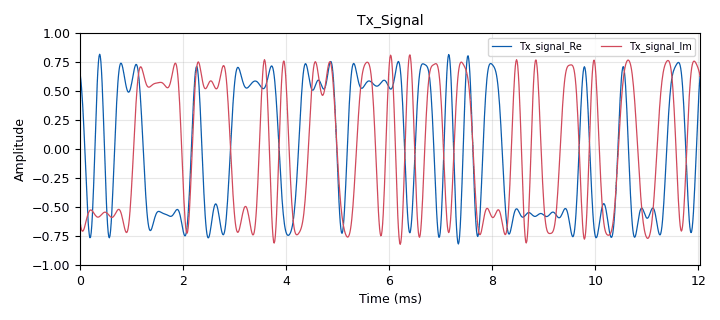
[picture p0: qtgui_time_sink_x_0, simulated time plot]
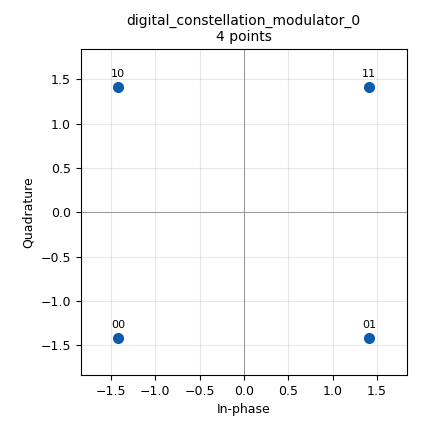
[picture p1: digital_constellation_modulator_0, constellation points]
options:
  parameters:
    author: amrlab
    generate_options: qt_gui
    id: constellation_Plutosdr_to_Plutosdr
    output_language: python
    title: Tx and Rx using Plutosdr
  states: {}

blocks:
- name: alpha
  id: variable
  parameters:
    value: '0.5'
  states: {}
- name: center_freq
  id: variable
  parameters:
    value: 5.15e9
  states: {}
- name: constellation
  id: variable_constellation
  parameters:
    precision: '4'
    type: qpsk
  states: {}
- name: costas_loop_bandwidth_in_cycles_per_sample
  id: variable_qtgui_range
  parameters:
    start: '0.0001'
    step: '0.0001'
    stop: '0.2'
    value: '0.01'
  states: {}
- name: delay
  id: variable_qtgui_range
  parameters:
    label: delay
    start: '0'
    step: '1'
    stop: '200'
    value: '50'
  states: {}
- name: fft_len
  id: variable
  parameters:
    value: '64'
  states: {}
- name: len_tag_key
  id: variable
  parameters:
    value: '"packet_len"'
  states: {}
- name: nfilts
  id: variable
  parameters:
    value: '32'
  states: {}
- name: packet_len
  id: variable
  parameters:
    value: '50'
  states: {}
- name: rcc_taps
  id: variable_rrc_filter_taps
  parameters:
    alpha: alpha
    gain: nfilts
    ntaps: 11*sps*nfilts
    samp_rate: samp_rate*nfilts
    sym_rate: samp_rate/sps
  states: {}
- name: rx_gain
  id: variable_qtgui_range
  parameters:
    start: '0'
    step: '1'
    stop: '200'
    value: '50'
  states: {}
- name: samp_rate
  id: variable
  parameters:
    value: 850e2
  states: {}
- name: samp_rate_0
  id: variable
  parameters:
    value: '100000'
  states: {}
- name: sps
  id: variable
  parameters:
    value: '16'
  states: {}
- name: analog_agc_xx_0
  id: analog_agc_xx
  parameters:
    gain: '1.0'
    max_gain: '65536'
    rate: '1e-4'
    reference: '1.0'
    type: complex
  states: {state: disabled}
- name: analog_const_source_x_0
  id: analog_const_source_x
  parameters:
    const: '1024'
    type: float
  states: {state: disabled}
- name: analog_random_uniform_source_x_0
  id: analog_random_uniform_source_x
  parameters:
    maximum: '4'
    minimum: '0'
    seed: '0'
    type: byte
  states: {}
- name: blocks_complex_to_mag_squared_0
  id: blocks_complex_to_mag_squared
  parameters: {}
  states: {state: disabled}
- name: blocks_divide_xx_0
  id: blocks_divide_xx
  parameters:
    type: float
  states: {state: disabled}
- name: blocks_divide_xx_1
  id: blocks_divide_xx
  parameters:
    type: float
  states: {state: disabled}
- name: blocks_divide_xx_2
  id: blocks_divide_xx
  parameters:
    type: float
  states: {state: disabled}
- name: blocks_multiply_const_vxx_0
  id: blocks_multiply_const_vxx
  parameters:
    const: '0.4'
    type: complex
  states: {}
- name: blocks_multiply_const_vxx_1
  id: blocks_multiply_const_vxx
  parameters:
    const: '0.5'
    type: float
  states: {state: disabled}
- name: blocks_multiply_xx_1
  id: blocks_multiply_xx
  parameters:
    type: float
  states: {state: disabled}
- name: blocks_multiply_xx_2
  id: blocks_multiply_xx
  parameters:
    type: float
  states: {state: disabled}
- name: blocks_nlog10_ff_0
  id: blocks_nlog10_ff
  parameters:
    k: '0'
    n: '10'
  states: {state: disabled}
- name: blocks_nlog10_ff_1
  id: blocks_nlog10_ff
  parameters:
    k: '0'
  states: {state: disabled}
- name: blocks_rms_xx_0
  id: blocks_rms_xx
  parameters:
    alpha: '0.0001'
    type: complex
  states: {state: disabled}
- name: blocks_skiphead_0
  id: blocks_skiphead
  parameters:
    num_items: int(samp_rate)
    type: complex
  states: {state: disabled}
- name: blocks_sub_xx_0
  id: blocks_sub_xx
  parameters:
    type: complex
  states: {state: disabled}
- name: blocks_unpacked_to_packed_xx_0
  id: blocks_unpacked_to_packed_xx
  parameters:
    bits_per_chunk: '2'
    endianness: gr.GR_MSB_FIRST
    type: byte
  states: {}
- name: digital_constellation_modulator_0
  id: digital_constellation_modulator
  parameters:
    constellation: constellation
    differential: 'False'
    excess_bw: alpha
    samples_per_symbol: sps
  states: {}
- name: digital_costas_loop_cc_0
  id: digital_costas_loop_cc
  parameters:
    order: constellation.arity()
    use_snr: 'True'
    w: 2*math.pi*costas_loop_bandwidth_in_cycles_per_sample
  states: {state: disabled}
- name: digital_fll_band_edge_cc_0
  id: digital_fll_band_edge_cc
  parameters:
    filter_size: sps*2+1
    rolloff: alpha
    samps_per_sym: sps
    type: cc
    w: 2*math.pi/sps/100
  states: {state: disabled}
- name: digital_symbol_sync_xx_0
  id: digital_symbol_sync_xx
  parameters:
    damping: '1.0'
    loop_bw: '0.045'
    max_dev: '0.1'
    nfilters: nfilts
    osps: '1'
    pfb_mf_taps: rcc_taps
    resamp_type: digital.IR_PFB_MF
    sps: sps
    ted_gain: '1.0'
    ted_type: digital.TED_SIGNAL_TIMES_SLOPE_ML
    type: cc
  states: {state: disabled}
- name: iio_pluto_sink_0
  id: iio_pluto_sink
  parameters:
    attenuation1: '0'
    bandwidth: '20000000'
    buffer_size: '32768'
    cyclic: 'False'
    filter_source: '''Auto'''
    frequency: int(center_freq)
    samplerate: int(samp_rate)
    type: fc32
    uri: '"ip:pluto2.local"'
  states: {}
- name: iio_pluto_source_0
  id: iio_pluto_source
  parameters:
    bandwidth: '20000000'
    bbdc: 'True'
    buffer_size: '32768'
    filter_source: '''Auto'''
    frequency: int(center_freq)
    gain1: '''manual'''
    manual_gain1: rx_gain
    quadrature: 'True'
    rfdc: 'True'
    samplerate: int(samp_rate)
    type: fc32
    uri: '"ip:pluto.local"'
  states: {state: disabled}
- name: import_0
  id: import
  parameters:
    imports: import math
  states: {}
- name: qtgui_const_sink_x_0_0
  id: qtgui_const_sink_x
  parameters:
    comment: makes most sense if "Output Samples/Symbol" is 1
    gui_hint: 17,0
    label1: after Symbol Sync
    label2: after Costas
    nconnections: '2'
    size: '1024'
    type: complex
  states: {state: disabled}
- name: qtgui_eye_sink_x_0
  id: qtgui_eye_sink_x
  parameters:
    label1: Re_Signal
    label2: Im_Signal
    samp_per_symbol: sps
    size: '1024'
    srate: samp_rate
    type: complex
    yunit: '"RRC_Received_Signal"'
  states: {state: disabled}
- name: qtgui_eye_sink_x_2
  id: qtgui_eye_sink_x
  parameters:
    samp_per_symbol: sps
    size: '1024'
    srate: samp_rate
    type: complex
  states: {state: disabled}
- name: qtgui_number_sink_1
  id: qtgui_number_sink
  parameters:
    graph_type: qtgui.NUM_GRAPH_HORIZ
    max: '100'
    min: '-100'
    name: SNR
    type: float
  states: {state: disabled}
- name: qtgui_number_sink_2
  id: qtgui_number_sink
  parameters:
    graph_type: qtgui.NUM_GRAPH_HORIZ
    max: '10'
    min: '-10'
    name: Noise
    type: float
  states: {state: disabled}
- name: qtgui_number_sink_2_0
  id: qtgui_number_sink
  parameters:
    graph_type: qtgui.NUM_GRAPH_HORIZ
    name: BER
    type: float
  states: {state: disabled}
- name: qtgui_time_sink_x_0
  id: qtgui_time_sink_x
  parameters:
    label1: Tx_signal_Re
    label2: Tx_signal_Im
    name: '"Tx_Signal "'
    size: '1024'
    srate: samp_rate
    type: complex
  states: {}
- name: qtgui_time_sink_x_1_0
  id: qtgui_time_sink_x
  parameters:
    label1: Rx_Signal_AGC_Re
    label2: Rx_Signal_AGC_Im
    name: '"Rx_signal"'
    size: 1024*8
    srate: samp_rate
    type: complex
  states: {state: disabled}
- name: qtgui_time_sink_x_1_1
  id: qtgui_time_sink_x
  parameters:
    label1: RRC_Rx_Re
    label2: RRC_Rx_Im
    name: '"RRC_filtered_signal"'
    size: 1024*8
    srate: samp_rate
    type: complex
  states: {state: disabled}
- name: qtgui_time_sink_x_2_1
  id: qtgui_time_sink_x
  parameters:
    name: Symol Sync output
    size: '1024'
    srate: samp_rate
    type: complex
  states: {state: disabled}
- name: qtgui_time_sink_x_3
  id: qtgui_time_sink_x
  parameters:
    name: Costas Loop Output
    size: '1024'
    srate: samp_rate
    type: complex
  states: {state: disabled}
- name: root_raised_cosine_filter_0
  id: root_raised_cosine_filter
  parameters:
    alpha: alpha
    decim: '1'
    gain: '1'
    ntaps: 11*sps
    samp_rate: samp_rate
    sym_rate: samp_rate/sps
    type: fir_filter_ccf
  states: {state: disabled}

connections:
- [analog_agc_xx_0, '0', digital_fll_band_edge_cc_0, '0']
- [analog_agc_xx_0, '0', qtgui_time_sink_x_1_0, '0']
- [analog_const_source_x_0, '0', blocks_divide_xx_0, '1']
- [analog_random_uniform_source_x_0, '0', blocks_unpacked_to_packed_xx_0, '0']
- [blocks_complex_to_mag_squared_0, '0', blocks_divide_xx_1, '0']
- [blocks_divide_xx_0, '0', blocks_divide_xx_1, '1']
- [blocks_divide_xx_0, '0', blocks_nlog10_ff_1, '0']
- [blocks_divide_xx_1, '0', blocks_multiply_const_vxx_1, '0']
- [blocks_divide_xx_1, '0', blocks_multiply_xx_2, '0']
- [blocks_divide_xx_1, '0', blocks_multiply_xx_2, '1']
- [blocks_divide_xx_1, '0', blocks_nlog10_ff_0, '0']
- [blocks_divide_xx_2, '0', qtgui_number_sink_2_0, '0']
- [blocks_multiply_const_vxx_0, '0', blocks_sub_xx_0, '0']
- [blocks_multiply_const_vxx_0, '0', iio_pluto_sink_0, '0']
- [blocks_multiply_const_vxx_0, '0', qtgui_time_sink_x_0, '0']
- [blocks_multiply_const_vxx_1, '0', blocks_divide_xx_2, '0']
- [blocks_multiply_xx_1, '0', blocks_divide_xx_0, '0']
- [blocks_multiply_xx_2, '0', blocks_divide_xx_2, '1']
- [blocks_nlog10_ff_0, '0', qtgui_number_sink_1, '0']
- [blocks_nlog10_ff_1, '0', qtgui_number_sink_2, '0']
- [blocks_rms_xx_0, '0', blocks_multiply_xx_1, '0']
- [blocks_rms_xx_0, '0', blocks_multiply_xx_1, '1']
- [blocks_skiphead_0, '0', digital_symbol_sync_xx_0, '0']
- [blocks_sub_xx_0, '0', blocks_rms_xx_0, '0']
- [blocks_unpacked_to_packed_xx_0, '0', digital_constellation_modulator_0, '0']
- [digital_constellation_modulator_0, '0', blocks_multiply_const_vxx_0, '0']
- [digital_costas_loop_cc_0, '0', qtgui_const_sink_x_0_0, '1']
- [digital_costas_loop_cc_0, '0', qtgui_eye_sink_x_2, '0']
- [digital_costas_loop_cc_0, '0', qtgui_time_sink_x_3, '0']
- [digital_fll_band_edge_cc_0, '0', root_raised_cosine_filter_0, '0']
- [digital_symbol_sync_xx_0, '0', digital_costas_loop_cc_0, '0']
- [digital_symbol_sync_xx_0, '0', qtgui_const_sink_x_0_0, '0']
- [digital_symbol_sync_xx_0, '0', qtgui_time_sink_x_2_1, '0']
- [iio_pluto_source_0, '0', analog_agc_xx_0, '0']
- [iio_pluto_source_0, '0', blocks_complex_to_mag_squared_0, '0']
- [iio_pluto_source_0, '0', blocks_sub_xx_0, '1']
- [root_raised_cosine_filter_0, '0', blocks_skiphead_0, '0']
- [root_raised_cosine_filter_0, '0', qtgui_eye_sink_x_0, '0']
- [root_raised_cosine_filter_0, '0', qtgui_time_sink_x_1_1, '0']

metadata:
  file_format: 1
